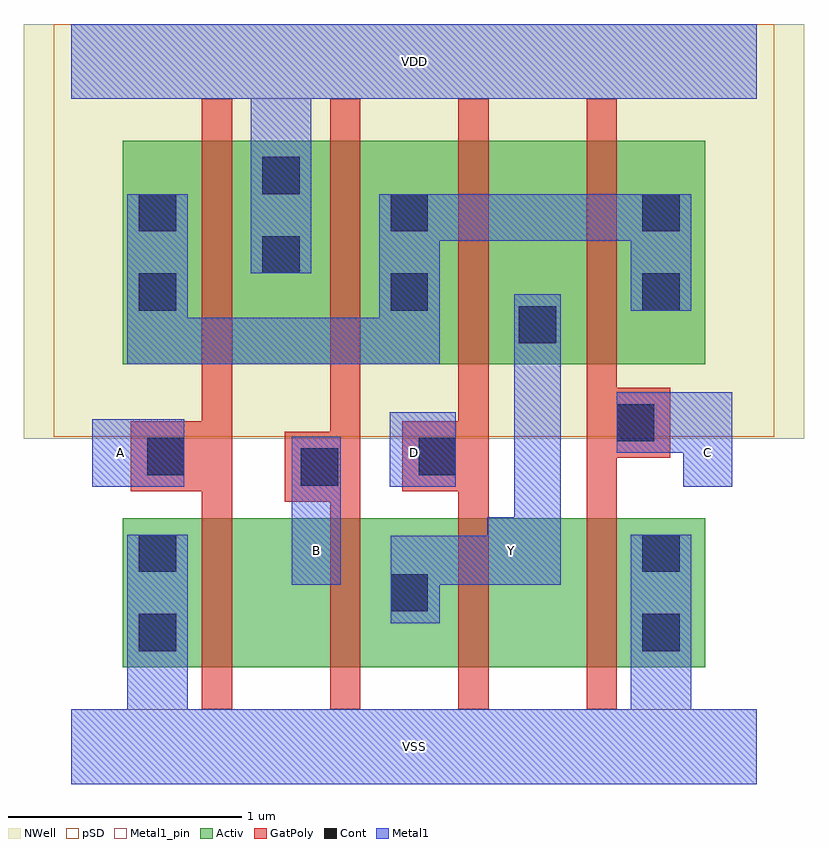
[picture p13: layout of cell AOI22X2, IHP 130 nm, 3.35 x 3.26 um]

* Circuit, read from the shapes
.subckt AOI22X2 A B C D VDD VSS Y
XM1 n1 A VSS VSUBS sg13_lv_nmos w=0.64u l=0.13u
XM2 Y B n1 VSUBS sg13_lv_nmos w=0.64u l=0.13u
XM3 n2 D Y VSUBS sg13_lv_nmos w=0.64u l=0.13u
XM4 VSS C n2 VSUBS sg13_lv_nmos w=0.64u l=0.13u
XM5 VDD A n3 n4 sg13_lv_pmos w=0.96u l=0.13u
XM6 n3 B VDD n4 sg13_lv_pmos w=0.96u l=0.13u
XM7 Y D n3 n4 sg13_lv_pmos w=0.96u l=0.13u
XM8 n3 C Y n4 sg13_lv_pmos w=0.96u l=0.13u
.ends

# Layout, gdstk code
import gdstk
lib = gdstk.Library(unit=1e-6, precision=1e-09)
def R(c, l, rs):  # rectangles x0, y0, x1, y1
    for r in rs: c.add(gdstk.rectangle(r[:2], r[2:], *l))
def A(c, l, x, y, w, h, nx, ny, dx, dy):  # array of equal rectangles
    R(c, l, [(x+i*dx, y+j*dy, x+i*dx+w, y+j*dy+h) for i in range(nx) for j in range(ny)])
def P(c, l, *ps):  # polygons
    for p in ps: c.add(gdstk.Polygon(p, *l))
Activ = (1, 0)
GatPoly = (5, 0)
Cont = (6, 0)
Metal1 = (8, 0)
Metal1_pin = (8, 2)
pSD = (14, 0)
NWell = (31, 0)

aoi22x2 = lib.new_cell('AOI22X2')
R(aoi22x2, Activ, [(0.22,0.34,2.72,0.98), (0.22,1.64,2.72,2.6)])
P(aoi22x2, GatPoly, [(2.21,0.16),(2.21,2.78),(2.34,2.78),(2.34,1.54),(2.57,1.54),(2.57,1.24),(2.34,1.24),(2.34,0.16)],
  [(1.66,0.16),(1.66,1.095),(1.42,1.095),(1.42,1.395),(1.66,1.395),(1.66,2.78),(1.79,2.78),(1.79,0.16)],
  [(1.11,0.16),(1.11,1.05),(0.915,1.05),(0.915,1.35),(1.11,1.35),(1.11,2.78),(1.24,2.78),(1.24,0.16)],
  [(0.56,0.16),(0.56,1.095),(0.255,1.095),(0.255,1.395),(0.56,1.395),(0.56,2.78),(0.69,2.78),(0.69,0.16)])
A(aoi22x2, Cont, 0.29, 1.87, 0.16, 0.16, 3, 2, 1.08, 0.34)
R(aoi22x2, Cont, [(0.29,0.41,0.45,0.57), (2.45,0.41,2.61,0.57), (1.37,0.58,1.53,0.74), (0.29,0.75,0.45,0.91), (2.45,0.75,2.61,0.91), (0.985,1.12,1.145,1.28), (0.325,1.165,0.485,1.325), (1.49,1.165,1.65,1.325), (2.34,1.31,2.5,1.47), (1.92,1.73,2.08,1.89), (0.82,2.03,0.98,2.19), (0.82,2.37,0.98,2.53)])
R(aoi22x2, Metal1, [(0.945,0.695,1.155,1.33), (0.09,1.115,0.485,1.405), (1.365,1.115,1.65,1.435)])
P(aoi22x2, Metal1, [(2.625,1.115),(2.625,1.26),(2.34,1.26),(2.34,1.52),(2.835,1.52),(2.835,1.115)],
  [(0,-0.16),(0,0.16),(0.24,0.16),(0.24,0.91),(0.5,0.91),(0.5,0.16),(2.4,0.16),(2.4,0.91),(2.66,0.91),(2.66,0.16),(2.94,0.16),(2.94,-0.16)],
  [(1.37,0.53),(1.37,0.905),(1.785,0.905),(1.785,0.985),(1.9,0.985),(1.9,1.94),(2.1,1.94),(2.1,0.695),(1.58,0.695),(1.58,0.53)],
  [(0.77,2.03),(0.77,2.78),(0,2.78),(0,3.1),(2.94,3.1),(2.94,2.78),(1.03,2.78),(1.03,2.03)],
  [(0.24,1.64),(0.24,2.37),(0.5,2.37),(0.5,1.84),(1.32,1.84),(1.32,2.37),(2.66,2.37),(2.66,1.87),(2.4,1.87),(2.4,2.17),(1.58,2.17),(1.58,1.64)])
R(aoi22x2, Metal1_pin, [(0,-0.16,2.94,0.16), (0.945,0.695,1.155,1.33), (1.785,0.695,2.1,0.985), (0.09,1.115,0.485,1.405), (1.365,1.115,1.65,1.435), (2.625,1.115,2.835,1.52), (0,2.78,2.94,3.1)])
P(aoi22x2, Metal1_pin, [(2.625,1.115),(2.625,1.26),(2.34,1.26),(2.34,1.52),(2.835,1.52),(2.835,1.115)],
  [(1.37,0.53),(1.37,0.905),(1.785,0.905),(1.785,0.985),(1.9,0.985),(1.9,1.94),(2.1,1.94),(2.1,0.695),(1.58,0.695),(1.58,0.53)])
R(aoi22x2, pSD, [(-0.075,1.33,3.015,3.1)])
R(aoi22x2, NWell, [(-0.205,1.32,3.145,3.1)])
aoi22x2.add(gdstk.Label('A', (0.21,1.26), layer=8, texttype=25))
aoi22x2.add(gdstk.Label('VSS', (1.47,0), layer=8, texttype=25))
aoi22x2.add(gdstk.Label('VDD', (1.47,2.94), layer=8, texttype=25))
aoi22x2.add(gdstk.Label('D', (1.47,1.26), layer=8, texttype=25))
aoi22x2.add(gdstk.Label('Y', (1.89,0.84), layer=8, texttype=25))
aoi22x2.add(gdstk.Label('B', (1.05,0.84), layer=8, texttype=25))
aoi22x2.add(gdstk.Label('C', (2.73,1.26), layer=8, texttype=25))

lib.write_gds('AOI22X2.gds')
